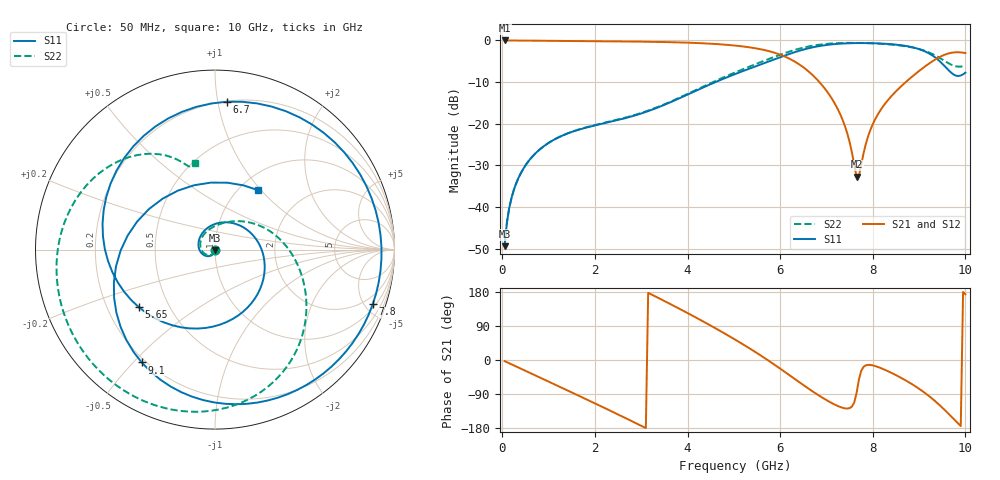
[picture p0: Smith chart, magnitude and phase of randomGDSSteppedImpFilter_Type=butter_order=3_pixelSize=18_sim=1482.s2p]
! freq	dB(S11)	phase(S11)	dB(S12)	phase(S12)
!  dB(S21)	phase(S21)	dB(S22)	phase(S22)
!S-par simulation data
#  GHz  S  DB  R 50
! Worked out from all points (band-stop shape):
!   200 points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, 50 MHz to 10 GHz, reference 50 ohm
!   highest |S21| = 0.00 dB at 50 MHz (marker M1); lowest = -32.7 dB at 7.65 GHz (marker M2)
!   |S21| within 3 dB of the highest: start of sweep to 5.892 GHz; 9.683 GHz to 9.98 GHz (297.1 MHz wide, 3.02 % of centre)
!   lowest |S11| = -49.4 dB at 50 MHz (marker M3), VSWR 1.01, Z = 50 - j0.337 ohm
!   |S11| at or under -10 dB: start of sweep to 4.604 GHz
!   |S22| runs from -49.4 to -0.6 dB; largest |S21 - S12| = 0
!   S11 on the Smith chart (normalised r, x): 50 MHz: 1.00, -0.01; 5.65 GHz: 0.34, -0.30; 6.7 GHz: 0.20, +1.06; 7.8 GHz: 1.25, -5.67; 9.1 GHz: 0.18, -0.53; 10 GHz: 1.22, +0.97
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0.05  -49.42 -85.0  -0.00 -2.9  -0.00 -2.9  -49.39 -86.0
0.2  -37.78 -98.6  -0.02 -11.5  -0.02 -11.5  -37.81 -101.0
0.5  -30.03 -115.7  -0.04 -28.5  -0.04 -28.5  -30.04 -121.7
1.15  -23.65 -150.0  -0.09 -65.6  -0.09 -65.6  -23.63 -163.9
1.75  -21.12 178.7  -0.15 -100.0  -0.15 -100.0  -21.06 157.9
2.65  -18.69 126.3  -0.24 -152.6  -0.24 -152.6  -18.57 104.8
3.4  -15.93 72.0  -0.36 161.9  -0.36 161.9  -15.79 68.6
4.3  -11.49 -3.9  -0.67 104.2  -0.67 104.2  -11.28 30.5
5.05  -7.98 -75.7  -1.26 52.2  -1.26 52.2  -7.58 -1.3
5.65  -5.48 -142.9  -2.28 6.4  -2.28 6.4  -4.90 -27.0
6.15  -3.44 154.1  -4.12 -35.7  -4.12 -35.7  -2.86 -50.6
6.7  -1.66 85.5  -8.31 -82.8  -8.31 -82.8  -1.26 -80.1
7.3  -0.77 22.7  -17.80 -124.1  -17.80 -124.1  -0.62 -112.8
7.65  -0.63 -7.3  -32.71 -87.2  -32.71 -87.2  -0.59 -131.3
7.8  -0.63 -19.1  -27.16 -18.2  -27.16 -18.2  -0.63 -139.1
8  -0.66 -34.2  -20.13 -14.2  -20.13 -14.2  -0.71 -149.7
8.35  -0.86 -59.7  -14.04 -30.8  -14.04 -30.8  -0.95 -169.0
8.75  -1.40 -90.3  -9.63 -56.6  -9.63 -56.6  -1.47 166.9
9.1  -2.50 -123.0  -6.48 -84.6  -6.48 -84.6  -2.40 143.4
9.5  -5.58 -179.4  -3.69 -125.6  -3.69 -125.6  -4.56 117.5
9.75  -8.22 122.1  -2.88 -155.9  -2.88 -155.9  -6.07 108.7
10  -7.75 53.8  -3.05 173.6  -3.05 173.6  -6.06 103.1
